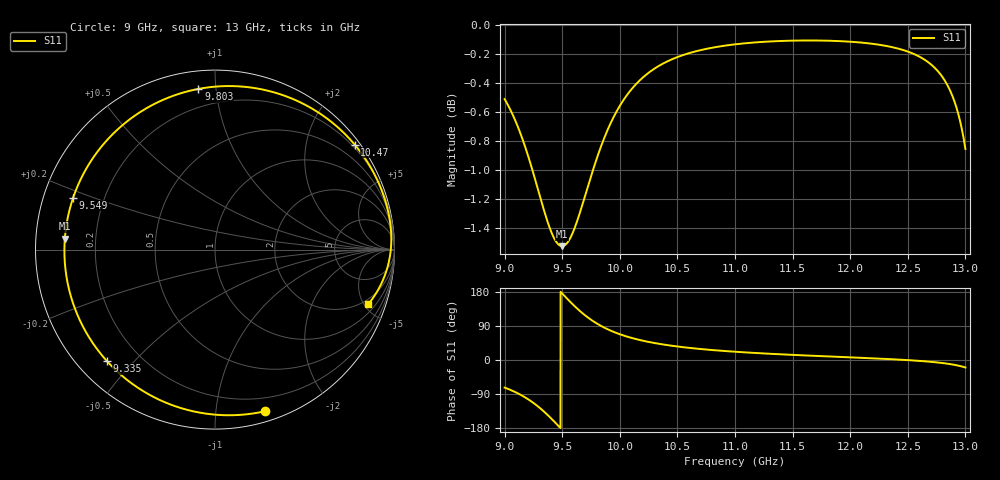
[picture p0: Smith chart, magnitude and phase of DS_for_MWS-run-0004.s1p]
! TOUCHSTONE file generated by CST DESIGN STUDIO
! Date and time: Tue Feb  4 17:27:11 2025
! Project name: C:\Work\MatlabApps\UnitCellOptimizationMatlab\CST\unitcell.cst
! Tree item: Tasks\Sweep1\SPara1\S-Parameters
! Header version: 2024
! Port assignment regex: !\s*Touchstone port\s*([0-9]+)\s*=\s*(CST MWS port|CST DES external port|CST DES block port)\s*(.+)\s* \(\"(.*)\"\)(\s*mode\s*([0-9]+))?.*
! Touchstone port assignment:
! Touchstone port 1 = CST DES external port 1 ("")
# GHz S MA R 50
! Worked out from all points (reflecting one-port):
!   4001 points, 9 GHz to 13 GHz, reference 50 ohm
!   lowest |S11| = -1.5 dB at 9.499 GHz (marker M1), VSWR 11.41, Z = 4.39 + j1.83 ohm
!   phase of S11 starts at -73 deg and turns -307 deg over the sweep
!   S11 on the Smith chart (normalised r, x): 9 GHz: 0.08, -1.35; 9.335 GHz: 0.09, -0.42; 9.549 GHz: 0.09, +0.18; 9.803 GHz: 0.10, +0.90; 10.47 GHz: 0.13, +2.99; 13 GHz: 1.56, -5.32
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9  0.9428 -72.8
9.087  0.928 -83.9
9.192  0.9043 -101.3
9.266  0.8842 -116.9
9.335  0.8649 -134.2
9.423  0.8452 -160.0
9.461  0.8405 -172.0
9.499  0.8388 175.8
9.5  0.8388 175.5
9.549  0.8416 159.8
9.613  0.8521 140.5
9.673  0.8664 124.2
9.735  0.8827 109.5
9.803  0.9 95.9
9.901  0.9213 80.2
10  0.9377 68.0
10.097  0.9497 58.7
10.204  0.9593 50.6
10.467  0.9736 36.9
10.5  0.9747 35.6
10.722  0.9805 28.4
11  0.9846 21.8
11.5  0.9875 13.5
12  0.9867 7.0
12.5  0.979 -0.3
12.793  0.9604 -7.7
12.906  0.9407 -12.8
13  0.9061 -19.7
